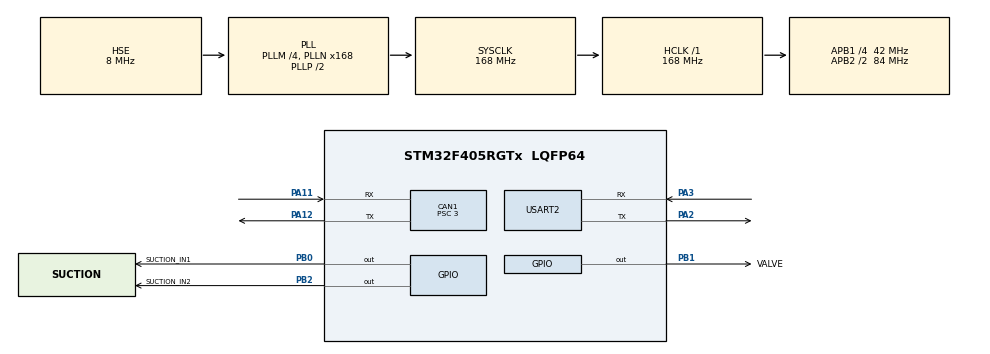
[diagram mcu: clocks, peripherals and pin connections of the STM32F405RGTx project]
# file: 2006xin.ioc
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CAN1.ABOM=ENABLE
CAN1.BS1=CAN_BS1_11TQ
CAN1.BS2=CAN_BS2_2TQ
CAN1.CalculateBaudRate=1000000
CAN1.CalculateTimeBit=1000
CAN1.CalculateTimeQuantum=71.42857142857143
CAN1.NART=ENABLE
CAN1.Prescaler=3
Mcu.Family=STM32F4
Mcu.Name=STM32F405RGTx
Mcu.Package=LQFP64
NVIC.CAN1_RX0_IRQn=true\:0\:0\:false\:false\:true\:true\:true\:true
NVIC.PriorityGroup=NVIC_PRIORITYGROUP_4
NVIC.USART2_IRQn=true\:0\:0\:false\:false\:true\:true\:true\:true
PA11.Mode=CAN_Activate
PA11.Signal=CAN1_RX
PA12.Mode=CAN_Activate
PA12.Signal=CAN1_TX
PA13.Mode=Serial_Wire
PA13.Signal=SYS_JTMS-SWDIO
PA14.Mode=Serial_Wire
PA14.Signal=SYS_JTCK-SWCLK
PA2.Mode=Asynchronous
PA2.Signal=USART2_TX
PA3.Mode=Asynchronous
PA3.Signal=USART2_RX
PB0.GPIO_Label=SUCTION_IN1
PB0.GPIO_PuPd=GPIO_PULLDOWN
PB0.Signal=GPIO_Output
PB1.GPIO_Label=VALVE
PB1.GPIO_PuPd=GPIO_PULLDOWN
PB1.Signal=GPIO_Output
PB2.GPIO_Label=SUCTION_IN2
PB2.GPIO_PuPd=GPIO_PULLDOWN
PB2.Signal=GPIO_Output
PH0-OSC_IN.Mode=HSE-External-Oscillator
PH0-OSC_IN.Signal=RCC_OSC_IN
PH1-OSC_OUT.Mode=HSE-External-Oscillator
PH1-OSC_OUT.Signal=RCC_OSC_OUT
ProjectManager.HeapSize=0x200
ProjectManager.StackSize=0x400
ProjectManager.TargetToolchain=MDK-ARM V5.32
RCC.48MHZClocksFreq_Value=84000000
RCC.AHBFreq_Value=168000000
RCC.APB1CLKDivider=RCC_HCLK_DIV4
RCC.APB1Freq_Value=42000000
RCC.APB1TimFreq_Value=84000000
RCC.APB2CLKDivider=RCC_HCLK_DIV2
RCC.APB2Freq_Value=84000000
RCC.APB2TimFreq_Value=168000000
RCC.CortexFreq_Value=168000000
RCC.HCLKFreq_Value=168000000
RCC.HSE_VALUE=8000000
RCC.HSI_VALUE=16000000
RCC.LSE_VALUE=32768
RCC.PLLM=4
RCC.PLLN=168
RCC.PLLSourceVirtual=RCC_PLLSOURCE_HSE
RCC.SYSCLKFreq_VALUE=168000000
RCC.SYSCLKSource=RCC_SYSCLKSOURCE_PLLCLK
RCC.VCOOutputFreq_Value=336000000
USART2.VirtualMode=VM_ASYNC
board=custom

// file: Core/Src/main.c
/* USER CODE BEGIN Header */
/**
  ******************************************************************************
  * @file           : main.c
  * @brief          : Three-omni chassis + two M2006 + suction integration
  ******************************************************************************
  * Hardware:
  *   STM32F405RGT6
  *   CAN1: 3 x M3508/C620 (ESC IDs 1,2,3)
  *         M2006/C610 #1 (ESC ID 4)
  *         M2006/C610 #2 (ESC ID 5)
  *   USART2: HC-05, 115200 8N1
  *   PB0/PB2: suction driver inputs (same pins as xipanxin project)
  *   PB1: additional active-high 24 V solenoid driver input
  ******************************************************************************
  */
/* USER CODE END Header */

#include "main.h"
#include "can.h"
#include "gpio.h"
#include "usart.h"

/* USER CODE BEGIN PTD */

typedef struct
{
  volatile uint16_t angle;
  volatile int16_t speed;
  volatile int16_t current;
  volatile uint8_t temperature;
  volatile uint32_t last_rx_tick;
} MotorFeedback_t;

typedef struct
{
  float kp;
  float ki;
  float kd;
  float error;
  float last_error;
  float integral;
  float integral_max;
  float output;
  float output_max;
} PID_t;

/* USER CODE END PTD */

/* USER CODE BEGIN PD */

/* Three C620 ESC IDs must be 1, 2 and 3. */
#define CHASSIS_MOTOR_COUNT       3U

/* C610 #1 must be ID4; C610 #2 must be ID5. */
#define M2006_1_ESC_ID            4U
#define M2006_2_ESC_ID            5U

/* Keep the tested chassis PID values from dipanxin. */
#define MOTOR1_KP                 3.0f
#define MOTOR1_KI                 0.2f
#define MOTOR2_KP                 3.0f
#define MOTOR2_KI                 0.2f
#define MOTOR3_KP                 3.0f
#define MOTOR3_KI                 0.09285f

#define CHASSIS_MAX_RPM           2000.0f
#define CHASSIS_CURRENT_MAX       15000.0f
#define PID_INTEGRAL_MAX          2000.0f
#define SQRT3_DIV_2               0.8660254f
#define JOYSTICK_DEADBAND         5

/* C610 tested current. Increase gradually only after checking the mechanism. */
#define M2006_RUN_CURRENT         1000
#define M2006_1_DIRECTION         1
#define M2006_2_DIRECTION         1

#define CONTROL_PERIOD_MS         10U
#define CONTROL_TIMEOUT_MS        500U
#define ESC_STARTUP_TIME_MS       500U

/* Suction output pins copied from xipanxin_STLink_fixed. */
#define SUCTION_IN1_PORT          GPIOB
#define SUCTION_IN1_PIN           GPIO_PIN_0
#define SUCTION_IN2_PORT          GPIOB
#define SUCTION_IN2_PIN           GPIO_PIN_2

/* The standalone valve project used PB0, but PB0 is already used by suction.
 * The additional solenoid valve is therefore moved to the free PB1 pin.
 */
#define VALVE_PORT                GPIOB
#define VALVE_PIN                 GPIO_PIN_1

/* Motor key state bits. */
#define KEY_M2006_1_FORWARD       0x01U
#define KEY_M2006_1_REVERSE       0x02U
#define KEY_M2006_2_FORWARD       0x04U
#define KEY_M2006_2_REVERSE       0x08U

/* USER CODE END PD */

/* USER CODE BEGIN PV */

/* Index 0..4 corresponds to ESC ID 1..5. */
static MotorFeedback_t motor_feedback[5];
static PID_t chassis_pid[CHASSIS_MOTOR_COUNT];

/* Bluetooth joystick values: -100..100. */
static volatile int8_t bt_vx = 0;
static volatile int8_t bt_vy = 0;
static volatile int8_t bt_vw = 0;
static volatile uint8_t motor_key_state = 0;
static volatile uint8_t valve_pressed = 0;
static volatile uint32_t last_control_rx_tick = 0;

/* USART2 one-byte interrupt receiver. */
static uint8_t bt_rx_byte = 0;

/* Bluetooth Debugger frame parser:
 * A5 | key_bits | vx | vy | vw | checksum | 5A
 * Seven bool variables occupy one byte. The first six retain their original
 * meanings and bool7 controls the additional valve while it is held.
 * checksum = low 8 bits of key_bits + vx + vy + vw.
 */
static uint8_t bt_parse_state = 0;
static uint8_t bt_frame_index = 0;
static uint8_t bt_frame_data[5];

/* USER CODE END PV */

void SystemClock_Config(void);
/* USER CODE BEGIN PFP */

static void CAN1_UserStart(void);
static HAL_StatusTypeDef CAN_SendMotorFrame(uint16_t std_id,
                                            int16_t c1,
                                            int16_t c2,
                                            int16_t c3,
                                            int16_t c4);
static void CAN_SendAllCurrents(int16_t chassis_c1,
                                int16_t chassis_c2,
                                int16_t chassis_c3,
                                int16_t m2006_c1,
                                int16_t m2006_c2);
static void PID_InitAll(void);
static float PID_Calculate(PID_t *pid, float target, float feedback);
static void Omni_Mix(float vx, float vy, float w,
                     float *motor1, float *motor2, float *motor3);
static void LimitWheelTargets(float *motor1, float *motor2, float *motor3);
static int8_t ApplyJoystickDeadband(int8_t value);
static int16_t GetM2006Current(uint8_t forward_mask,
                               uint8_t reverse_mask,
                               int16_t direction);
static void BT_ProcessButton(uint8_t command);
static void BT_ProcessReceivedByte(uint8_t byte);
static void Suction_GPIO_Init(void);
static void Suction_On(void);
static void Suction_Off(void);
static void Valve_On(void);
static void Valve_Off(void);

/* USER CODE END PFP */

/* USER CODE BEGIN 0 */

static void CAN1_UserStart(void)
{
  CAN_FilterTypeDef filter = {0};

  /* Accept all standard CAN frames into FIFO0. */
  filter.FilterBank = 0;
  filter.FilterMode = CAN_FILTERMODE_IDMASK;
  filter.FilterScale = CAN_FILTERSCALE_32BIT;
  filter.FilterIdHigh = 0x0000;
  filter.FilterIdLow = 0x0000;
  filter.FilterMaskIdHigh = 0x0000;
  filter.FilterMaskIdLow = 0x0000;
  filter.FilterFIFOAssignment = CAN_RX_FIFO0;
  filter.FilterActivation = ENABLE;
  filter.SlaveStartFilterBank = 14;

  if (HAL_CAN_ConfigFilter(&hcan1, &filter) != HAL_OK)
  {
    Error_Handler();
  }
  if (HAL_CAN_Start(&hcan1) != HAL_OK)
  {
    Error_Handler();
  }
  if (HAL_CAN_ActivateNotification(&hcan1,
                                   CAN_IT_RX_FIFO0_MSG_PENDING) != HAL_OK)
  {
    Error_Handler();
  }
}

static HAL_StatusTypeDef CAN_SendMotorFrame(uint16_t std_id,
                                            int16_t c1,
                                            int16_t c2,
                                            int16_t c3,
                                            int16_t c4)
{
  CAN_TxHeaderTypeDef tx_header = {0};
  uint8_t data[8];
  uint32_t mailbox;

  tx_header.StdId = std_id;
  tx_header.ExtId = 0;
  tx_header.IDE = CAN_ID_STD;
  tx_header.RTR = CAN_RTR_DATA;
  tx_header.DLC = 8;
  tx_header.TransmitGlobalTime = DISABLE;

  data[0] = (uint8_t)(((uint16_t)c1 >> 8) & 0xFFU);
  data[1] = (uint8_t)((uint16_t)c1 & 0xFFU);
  data[2] = (uint8_t)(((uint16_t)c2 >> 8) & 0xFFU);
  data[3] = (uint8_t)((uint16_t)c2 & 0xFFU);
  data[4] = (uint8_t)(((uint16_t)c3 >> 8) & 0xFFU);
  data[5] = (uint8_t)((uint16_t)c3 & 0xFFU);
  data[6] = (uint8_t)(((uint16_t)c4 >> 8) & 0xFFU);
  data[7] = (uint8_t)((uint16_t)c4 & 0xFFU);

  return HAL_CAN_AddTxMessage(&hcan1, &tx_header, data, &mailbox);
}

static void CAN_SendAllCurrents(int16_t chassis_c1,
                                int16_t chassis_c2,
                                int16_t chassis_c3,
                                int16_t m2006_c1,
                                int16_t m2006_c2)
{
  /* 0x200 slots control ESC IDs 1..4. ID4 is M2006 #1. */
  (void)CAN_SendMotorFrame(0x200U,
                           chassis_c1,
                           chassis_c2,
                           chassis_c3,
                           m2006_c1);

  /* 0x1FF slots control ESC IDs 5..8. ID5 is M2006 #2. */
  (void)CAN_SendMotorFrame(0x1FFU, m2006_c2, 0, 0, 0);
}

void HAL_CAN_RxFifo0MsgPendingCallback(CAN_HandleTypeDef *hcan)
{
  CAN_RxHeaderTypeDef rx_header;
  uint8_t data[8];
  uint32_t index;

  if (hcan->Instance != CAN1)
  {
    return;
  }

  if (HAL_CAN_GetRxMessage(hcan, CAN_RX_FIFO0,
                           &rx_header, data) != HAL_OK)
  {
    return;
  }

  if ((rx_header.IDE == CAN_ID_STD) &&
      (rx_header.RTR == CAN_RTR_DATA) &&
      (rx_header.DLC == 8U) &&
      (rx_header.StdId >= 0x201U) &&
      (rx_header.StdId <= 0x205U))
  {
    index = rx_header.StdId - 0x201U;
    motor_feedback[index].angle =
        (uint16_t)(((uint16_t)data[0] << 8) | data[1]);
    motor_feedback[index].speed =
        (int16_t)(((uint16_t)data[2] << 8) | data[3]);
    motor_feedback[index].current =
        (int16_t)(((uint16_t)data[4] << 8) | data[5]);
    motor_feedback[index].temperature = data[6];
    motor_feedback[index].last_rx_tick = HAL_GetTick();
  }
}

static void PID_InitAll(void)
{
  uint32_t i;

  chassis_pid[0].kp = MOTOR1_KP;
  chassis_pid[0].ki = MOTOR1_KI;
  chassis_pid[1].kp = MOTOR2_KP;
  chassis_pid[1].ki = MOTOR2_KI;
  chassis_pid[2].kp = MOTOR3_KP;
  chassis_pid[2].ki = MOTOR3_KI;

  for (i = 0; i < CHASSIS_MOTOR_COUNT; i++)
  {
    chassis_pid[i].kd = 0.0f;
    chassis_pid[i].error = 0.0f;
    chassis_pid[i].last_error = 0.0f;
    chassis_pid[i].integral = 0.0f;
    chassis_pid[i].integral_max = PID_INTEGRAL_MAX;
    chassis_pid[i].output = 0.0f;
    chassis_pid[i].output_max = CHASSIS_CURRENT_MAX;
  }
}

static float PID_Calculate(PID_t *pid, float target, float feedback)
{
  /* At a complete stop, remove residual integral to prevent motor humming. */
  if ((target > -0.5f) && (target < 0.5f) &&
      (feedback > -20.0f) && (feedback < 20.0f))
  {
    pid->error = 0.0f;
    pid->last_error = 0.0f;
    pid->integral = 0.0f;
    pid->output = 0.0f;
    return 0.0f;
  }

  pid->error = target - feedback;
  pid->integral += pid->error;

  if (pid->integral > pid->integral_max)
  {
    pid->integral = pid->integral_max;
  }
  if (pid->integral < -pid->integral_max)
  {
    pid->integral = -pid->integral_max;
  }

  pid->output = pid->kp * pid->error +
                pid->ki * pid->integral +
                pid->kd * (pid->error - pid->last_error);
  pid->last_error = pid->error;

  if (pid->output > pid->output_max)
  {
    pid->output = pid->output_max;
  }
  if (pid->output < -pid->output_max)
  {
    pid->output = -pid->output_max;
  }

  return pid->output;
}

static void Omni_Mix(float vx, float vy, float w,
                     float *motor1, float *motor2, float *motor3)
{
  /* Same 90/210/330-degree wheel arrangement as the tested chassis project.
   * vx: forward positive, vy: left positive, w: CCW positive.
   */
  *motor1 = -vx + w;
  *motor2 = 0.5f * vx - SQRT3_DIV_2 * vy + w;
  *motor3 = 0.5f * vx + SQRT3_DIV_2 * vy + w;
}

static void LimitWheelTargets(float *motor1, float *motor2, float *motor3)
{
  float abs1 = (*motor1 >= 0.0f) ? *motor1 : -*motor1;
  float abs2 = (*motor2 >= 0.0f) ? *motor2 : -*motor2;
  float abs3 = (*motor3 >= 0.0f) ? *motor3 : -*motor3;
  float maximum = abs1;
  float scale;

  if (abs2 > maximum)
  {
    maximum = abs2;
  }
  if (abs3 > maximum)
  {
    maximum = abs3;
  }

  if (maximum > CHASSIS_MAX_RPM)
  {
    scale = CHASSIS_MAX_RPM / maximum;
    *motor1 *= scale;
    *motor2 *= scale;
    *motor3 *= scale;
  }
}

static int8_t ApplyJoystickDeadband(int8_t value)
{
  if ((value >= -JOYSTICK_DEADBAND) &&
      (value <= JOYSTICK_DEADBAND))
  {
    return 0;
  }
  return value;
}

static int16_t GetM2006Current(uint8_t forward_mask,
                               uint8_t reverse_mask,
                               int16_t direction)
{
  uint8_t keys = motor_key_state;
  uint8_t forward_pressed = keys & forward_mask;
  uint8_t reverse_pressed = keys & reverse_mask;

  /* Pressing both directions is treated as stop. */
  if ((forward_pressed != 0U) && (reverse_pressed == 0U))
  {
    return (int16_t)(direction * M2006_RUN_CURRENT);
  }
  if ((reverse_pressed != 0U) && (forward_pressed == 0U))
  {
    return (int16_t)(-direction * M2006_RUN_CURRENT);
  }
  return 0;
}

static void BT_ProcessButton(uint8_t command)
{
  uint8_t valid_motion_command = 1U;

  switch (command)
  {
    /* Button 1: M2006 #1 forward, press A / release a. */
    case 'A':
      motor_key_state |= KEY_M2006_1_FORWARD;
      break;
    case 'a':
      motor_key_state &= (uint8_t)~KEY_M2006_1_FORWARD;
      break;

    /* Button 2: M2006 #1 reverse, press B / release b. */
    case 'B':
      motor_key_state |= KEY_M2006_1_REVERSE;
      break;
    case 'b':
      motor_key_state &= (uint8_t)~KEY_M2006_1_REVERSE;
      break;

    /* Button 3: M2006 #2 forward, press C / release c. */
    case 'C':
      motor_key_state |= KEY_M2006_2_FORWARD;
      break;
    case 'c':
      motor_key_state &= (uint8_t)~KEY_M2006_2_FORWARD;
      break;

    /* Button 4: M2006 #2 reverse, press D / release d. */
    case 'D':
      motor_key_state |= KEY_M2006_2_REVERSE;
      break;
    case 'd':
      motor_key_state &= (uint8_t)~KEY_M2006_2_REVERSE;
      break;

    /* Button 5/6: suction is latched; release data is not required. */
    case 'E':
      Suction_On();
      valid_motion_command = 0U;
      break;
    case 'F':
      Suction_Off();
      valid_motion_command = 0U;
      break;

    /* Optional ASCII fallback for the additional valve. */
    case 'G':
      valve_pressed = 1U;
      Valve_On();
      break;
    case 'g':
      valve_pressed = 0U;
      Valve_Off();
      break;

    /* Optional emergency stop command. */
    case 'X':
      bt_vx = 0;
      bt_vy = 0;
      bt_vw = 0;
      motor_key_state = 0;
      valve_pressed = 0U;
      Valve_Off();
      break;

    default:
      valid_motion_command = 0U;
      break;
  }

  if (valid_motion_command != 0U)
  {
    last_control_rx_tick = HAL_GetTick();
  }
}

static void BT_ProcessReceivedByte(uint8_t byte)
{
  switch (bt_parse_state)
  {
    case 0:
      if (byte == 0xA5U)
      {
        bt_frame_index = 0;
        bt_parse_state = 1;
      }
      else
      {
        BT_ProcessButton(byte);
      }
      break;

    case 1:
      bt_frame_data[bt_frame_index++] = byte;
      if (bt_frame_index >= 5U)
      {
        bt_parse_state = 2;
      }
      break;

    case 2:
      if ((byte == 0x5AU) &&
          ((uint8_t)(bt_frame_data[0] +
                     bt_frame_data[1] +
                     bt_frame_data[2] +
                     bt_frame_data[3]) == bt_frame_data[4]))
      {
        /* bit0..bit3 directly represent the four held motor buttons. */
        motor_key_state = bt_frame_data[0] & 0x0FU;

        /* Suction commands are latched. If both are pressed, OFF wins. */
        if ((bt_frame_data[0] & 0x20U) != 0U)
        {
          Suction_Off();
        }
        else if ((bt_frame_data[0] & 0x10U) != 0U)
        {
          Suction_On();
        }

        /* bool7: additional solenoid valve, held ON only while pressed. */
        valve_pressed = ((bt_frame_data[0] & 0x40U) != 0U) ? 1U : 0U;
        if (valve_pressed != 0U)
        {
          Valve_On();
        }
        else
        {
          Valve_Off();
        }

        bt_vx = (int8_t)bt_frame_data[1];
        bt_vy = (int8_t)bt_frame_data[2];
        bt_vw = (int8_t)bt_frame_data[3];
        last_control_rx_tick = HAL_GetTick();
      }
      bt_parse_state = 0;
      bt_frame_index = 0;
      break;

    default:
      bt_parse_state = 0;
      bt_frame_index = 0;
      break;
  }
}

void HAL_UART_RxCpltCallback(UART_HandleTypeDef *huart)
{
  if (huart->Instance == USART2)
  {
    BT_ProcessReceivedByte(bt_rx_byte);
    (void)HAL_UART_Receive_IT(&huart2, &bt_rx_byte, 1);
  }
}

void HAL_UART_ErrorCallback(UART_HandleTypeDef *huart)
{
  if (huart->Instance == USART2)
  {
    bt_parse_state = 0;
    bt_frame_index = 0;
    valve_pressed = 0U;
    Valve_Off();
    __HAL_UART_CLEAR_OREFLAG(&huart2);
    (void)HAL_UART_Receive_IT(&huart2, &bt_rx_byte, 1);
  }
}

static void Suction_GPIO_Init(void)
{
  GPIO_InitTypeDef gpio_init = {0};

  __HAL_RCC_GPIOB_CLK_ENABLE();
  HAL_GPIO_WritePin(GPIOB,
                    SUCTION_IN1_PIN | SUCTION_IN2_PIN | VALVE_PIN,
                    GPIO_PIN_RESET);

  gpio_init.Pin = SUCTION_IN1_PIN | SUCTION_IN2_PIN | VALVE_PIN;
  gpio_init.Mode = GPIO_MODE_OUTPUT_PP;
  gpio_init.Pull = GPIO_PULLDOWN;
  gpio_init.Speed = GPIO_SPEED_FREQ_LOW;
  HAL_GPIO_Init(GPIOB, &gpio_init);
}

static void Suction_On(void)
{
  /* Same polarity as the tested suction project: IN1=1, IN2=0. */
  HAL_GPIO_WritePin(SUCTION_IN2_PORT, SUCTION_IN2_PIN, GPIO_PIN_RESET);
  HAL_GPIO_WritePin(SUCTION_IN1_PORT, SUCTION_IN1_PIN, GPIO_PIN_SET);
}

static void Suction_Off(void)
{
  HAL_GPIO_WritePin(SUCTION_IN1_PORT, SUCTION_IN1_PIN, GPIO_PIN_RESET);
  HAL_GPIO_WritePin(SUCTION_IN2_PORT, SUCTION_IN2_PIN, GPIO_PIN_RESET);
}

static void Valve_On(void)
{
  /* Same active-high polarity as the tested diancifa project. */
  HAL_GPIO_WritePin(VALVE_PORT, VALVE_PIN, GPIO_PIN_SET);
}

static void Valve_Off(void)
{
  HAL_GPIO_WritePin(VALVE_PORT, VALVE_PIN, GPIO_PIN_RESET);
}

/* USER CODE END 0 */

int main(void)
{
  /* USER CODE BEGIN 1 */
  uint32_t last_control_tick;
  uint32_t startup_tick;
  uint32_t zero_send_tick;
  /* USER CODE END 1 */

  HAL_Init();
  SystemClock_Config();

  MX_GPIO_Init();
  MX_CAN1_Init();
  MX_USART2_UART_Init();

  /* USER CODE BEGIN 2 */
  Suction_GPIO_Init();
  Suction_Off();
  Valve_Off();

  PID_InitAll();
  CAN1_UserStart();

  if (HAL_UART_Receive_IT(&huart2, &bt_rx_byte, 1) != HAL_OK)
  {
    Error_Handler();
  }

  /* Give all ESCs 500 ms to start while repeatedly transmitting zero current. */
  startup_tick = HAL_GetTick();
  zero_send_tick = startup_tick;
  while ((HAL_GetTick() - startup_tick) < ESC_STARTUP_TIME_MS)
  {
    if ((HAL_GetTick() - zero_send_tick) >= CONTROL_PERIOD_MS)
    {
      zero_send_tick = HAL_GetTick();
      CAN_SendAllCurrents(0, 0, 0, 0, 0);
    }
  }

  last_control_tick = HAL_GetTick();
  /* USER CODE END 2 */

  /* Infinite loop */
  /* USER CODE BEGIN WHILE */
  while (1)
  {
    uint32_t now = HAL_GetTick();

    if ((now - last_control_tick) >= CONTROL_PERIOD_MS)
    {
      int8_t vx_command;
      int8_t vy_command;
      int8_t vw_command;
      float vx;
      float vy;
      float vw;
      float target1;
      float target2;
      float target3;
      int16_t chassis_current1;
      int16_t chassis_current2;
      int16_t chassis_current3;
      int16_t m2006_current1;
      int16_t m2006_current2;

      last_control_tick = now;

      /* Bluetooth failsafe: stop every motor if no valid motion data for 500 ms.
       * The suction output intentionally remains latched until button 6 is used.
       */
      if ((now - last_control_rx_tick) > CONTROL_TIMEOUT_MS)
      {
        bt_vx = 0;
        bt_vy = 0;
        bt_vw = 0;
        motor_key_state = 0;
        valve_pressed = 0U;
        Valve_Off();
      }

      vx_command = ApplyJoystickDeadband(bt_vx);
      vy_command = ApplyJoystickDeadband(bt_vy);
      vw_command = ApplyJoystickDeadband(bt_vw);

      vx = ((float)vx_command / 100.0f) * CHASSIS_MAX_RPM;
      vy = ((float)vy_command / 100.0f) * CHASSIS_MAX_RPM;
      vw = ((float)vw_command / 100.0f) * CHASSIS_MAX_RPM;

      Omni_Mix(vx, vy, vw, &target1, &target2, &target3);
      LimitWheelTargets(&target1, &target2, &target3);

      chassis_current1 = (int16_t)PID_Calculate(
          &chassis_pid[0], target1, (float)motor_feedback[0].speed);
      chassis_current2 = (int16_t)PID_Calculate(
          &chassis_pid[1], target2, (float)motor_feedback[1].speed);
      chassis_current3 = (int16_t)PID_Calculate(
          &chassis_pid[2], target3, (float)motor_feedback[2].speed);

      m2006_current1 = GetM2006Current(KEY_M2006_1_FORWARD,
                                       KEY_M2006_1_REVERSE,
                                       M2006_1_DIRECTION);
      m2006_current2 = GetM2006Current(KEY_M2006_2_FORWARD,
                                       KEY_M2006_2_REVERSE,
                                       M2006_2_DIRECTION);

      CAN_SendAllCurrents(chassis_current1,
                          chassis_current2,
                          chassis_current3,
                          m2006_current1,
                          m2006_current2);
    }
    /* USER CODE END WHILE */

  }
}

void SystemClock_Config(void)
{
  RCC_OscInitTypeDef RCC_OscInitStruct = {0};
  RCC_ClkInitTypeDef RCC_ClkInitStruct = {0};

  __HAL_RCC_PWR_CLK_ENABLE();
  __HAL_PWR_VOLTAGESCALING_CONFIG(PWR_REGULATOR_VOLTAGE_SCALE1);

  /* Same 8 MHz HSE / 168 MHz clock arrangement as the tested 2006 project. */
  RCC_OscInitStruct.OscillatorType = RCC_OSCILLATORTYPE_HSE;
  RCC_OscInitStruct.HSEState = RCC_HSE_ON;
  RCC_OscInitStruct.PLL.PLLState = RCC_PLL_ON;
  RCC_OscInitStruct.PLL.PLLSource = RCC_PLLSOURCE_HSE;
  RCC_OscInitStruct.PLL.PLLM = 4;
  RCC_OscInitStruct.PLL.PLLN = 168;
  RCC_OscInitStruct.PLL.PLLP = RCC_PLLP_DIV2;
  RCC_OscInitStruct.PLL.PLLQ = 7;
  if (HAL_RCC_OscConfig(&RCC_OscInitStruct) != HAL_OK)
  {
    Error_Handler();
  }

  RCC_ClkInitStruct.ClockType = RCC_CLOCKTYPE_HCLK | RCC_CLOCKTYPE_SYSCLK |
                                RCC_CLOCKTYPE_PCLK1 | RCC_CLOCKTYPE_PCLK2;
  RCC_ClkInitStruct.SYSCLKSource = RCC_SYSCLKSOURCE_PLLCLK;
  RCC_ClkInitStruct.AHBCLKDivider = RCC_SYSCLK_DIV1;
  RCC_ClkInitStruct.APB1CLKDivider = RCC_HCLK_DIV4;
  RCC_ClkInitStruct.APB2CLKDivider = RCC_HCLK_DIV2;

  if (HAL_RCC_ClockConfig(&RCC_ClkInitStruct, FLASH_LATENCY_5) != HAL_OK)
  {
    Error_Handler();
  }
}

void Error_Handler(void)
{
  /* USER CODE BEGIN Error_Handler_Debug */
  Suction_Off();
  Valve_Off();
  __disable_irq();
  while (1)
  {
  }
  /* USER CODE END Error_Handler_Debug */
}

#ifdef USE_FULL_ASSERT
void assert_failed(uint8_t *file, uint32_t line)
{
  /* USER CODE BEGIN 6 */
  (void)file;
  (void)line;
  /* USER CODE END 6 */
}
#endif /* USE_FULL_ASSERT */
